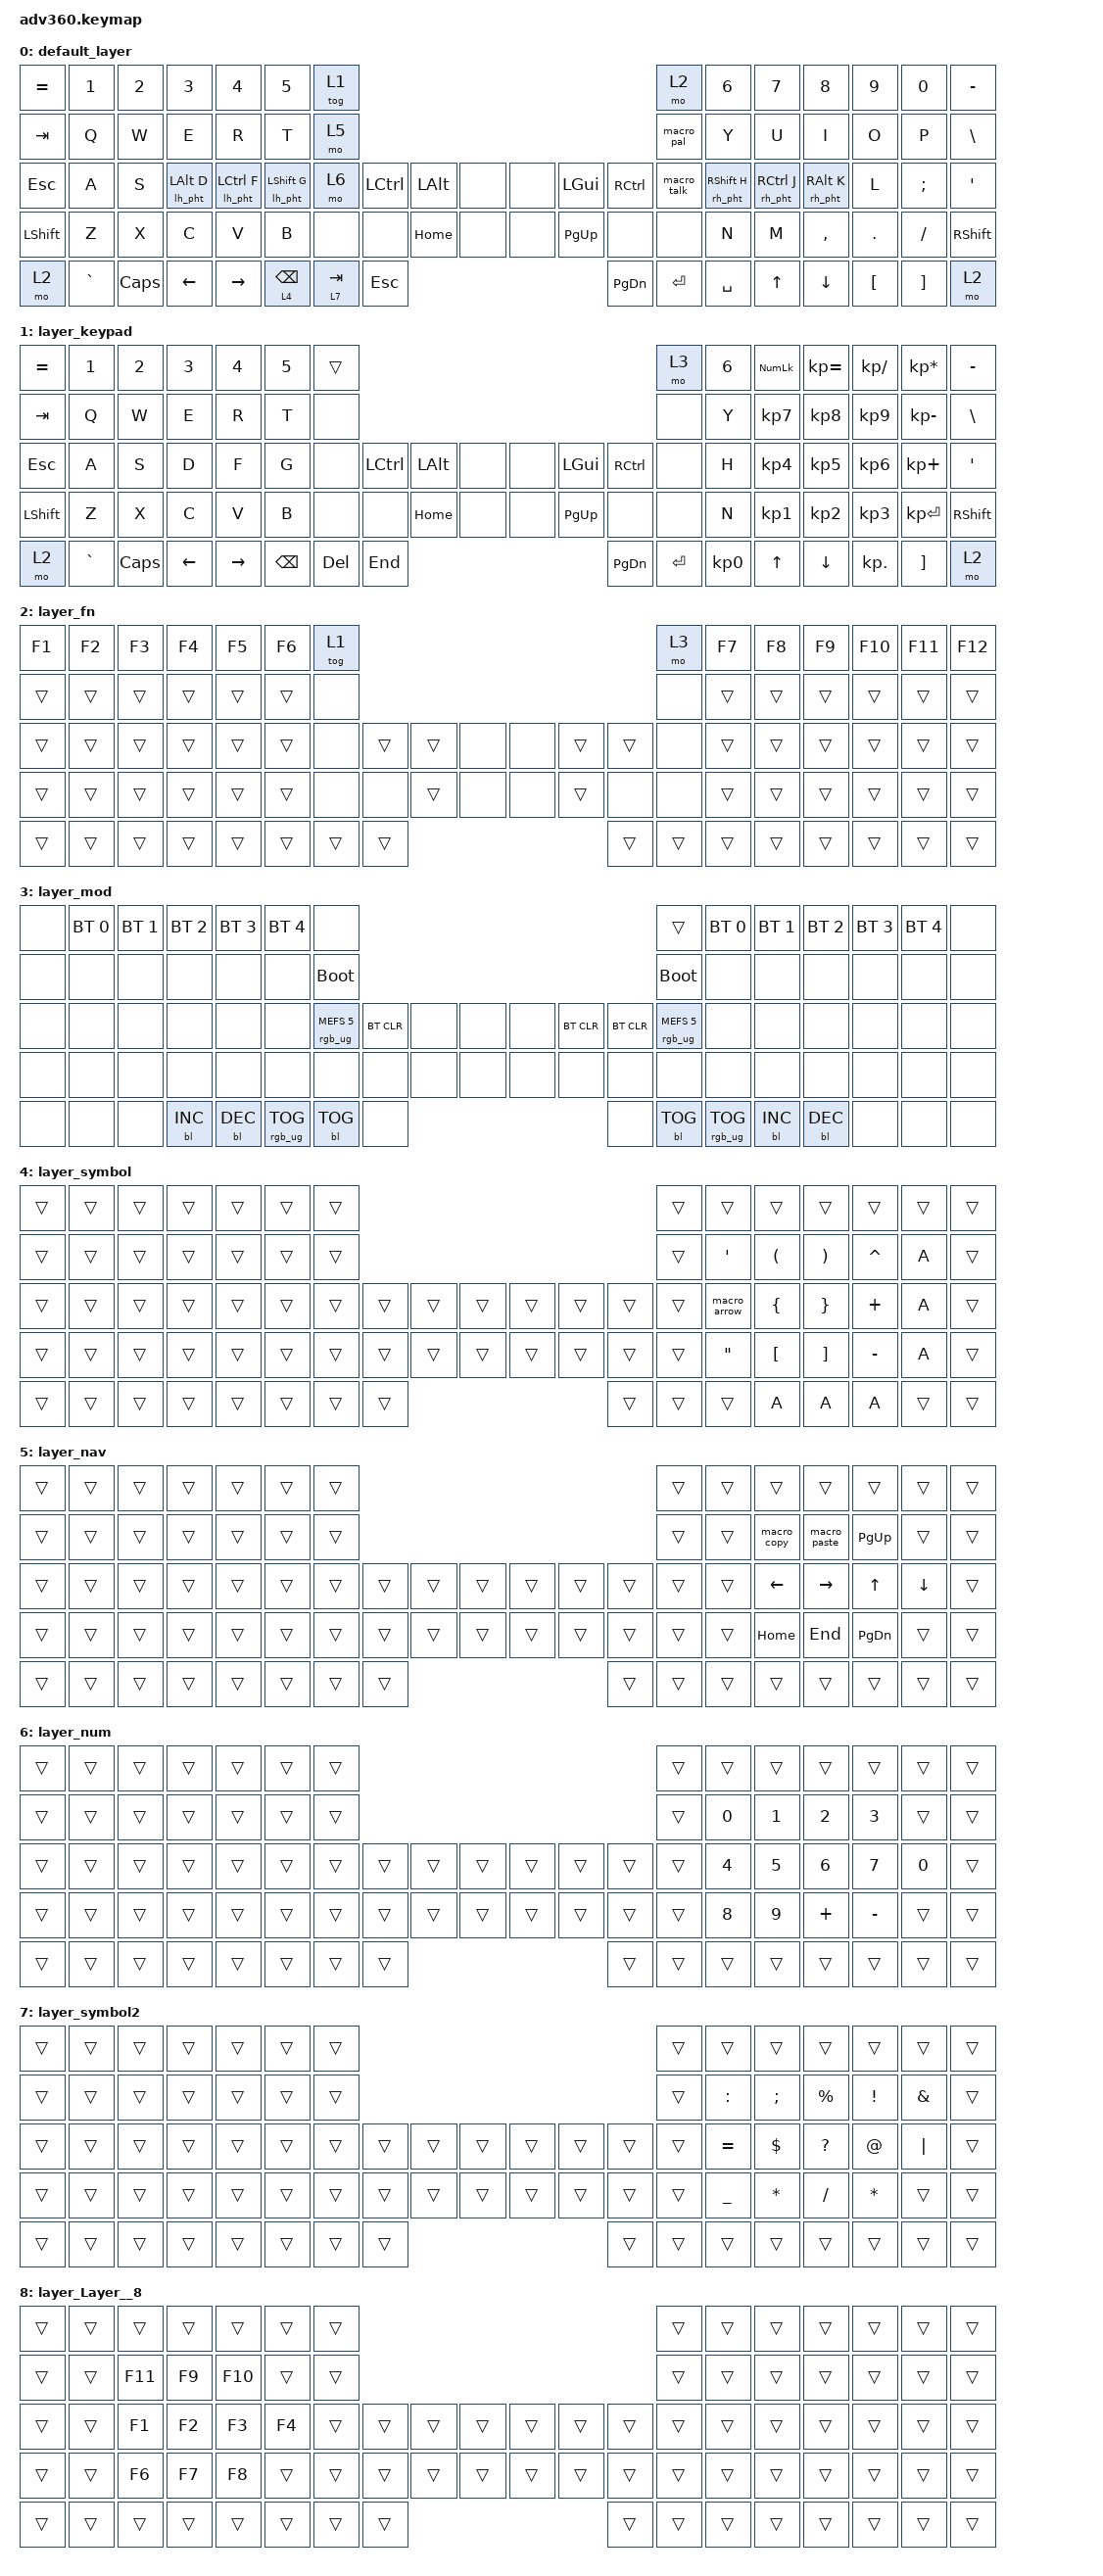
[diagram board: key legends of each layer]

/*
 * Copyright (c) 2020 The ZMK Contributors
 *
 * SPDX-License-Identifier: MIT
 */


/* THIS FILE WAS GENERATED!
 *
 * This file was generated automatically. You may or may not want to
 * edit it directly.
 */

#include <behaviors.dtsi>
#include <dt-bindings/zmk/keys.h>
#include <dt-bindings/zmk/bt.h>
#include <dt-bindings/zmk/rgb.h>
#include <dt-bindings/zmk/backlight.h>

/ {
  behaviors {
    #include "macros.dtsi"
    #include "version.dtsi"

    hm: homerow_mods {
        compatible = "zmk,behavior-hold-tap";
        label = "HOMEROW_MODS";
        #binding-cells = <2>;
        tapping-term-ms = <200>;
        quick_tap_ms = <175>;
        flavor = "tap-preferred";
        bindings = <&kp>, <&kp>;
    };
  };

    keymap {
        compatible = "zmk,keymap";


        default_layer {
            bindings = <
 &kp EQUAL     &kp N1    &kp N2              &kp N3           &kp N4                &kp N5                     &tog 1                                                                     &mo 2                 &kp N6           &kp N7               &kp N8    &kp N9    &kp N0  &kp MINUS
   &kp TAB      &kp Q     &kp W               &kp E            &kp R                 &kp T                      &mo 5                                                                &macro_pal                  &kp Y            &kp U                &kp I     &kp O     &kp P   &kp BSLH
   &kp ESC      &kp A     &kp S  &lh_pht LEFT_ALT D  &lh_pht LCTRL F  &lh_pht LEFT_SHIFT G                      &mo 6  &kp LCTRL    &kp LALT   &none   &none   &kp LGUI  &kp RCTRL  &macro_talk  &rh_pht RIGHT_SHIFT H  &rh_pht RCTRL J  &rh_pht RIGHT_ALT K     &kp L  &kp SEMI    &kp SQT
 &kp LSHFT      &kp Z     &kp X               &kp C            &kp V                 &kp B                      &none      &none    &kp HOME   &none   &none  &kp PG_UP      &none        &none                  &kp N            &kp M            &kp COMMA   &kp DOT  &kp FSLH  &kp RSHFT
     &mo 2  &kp GRAVE  &kp CAPS            &kp LEFT        &kp RIGHT                                  &lt 4 BACKSPACE  &lt 7 TAB  &kp ESCAPE                  &kp PG_DN  &kp ENTER    &kp SPACE                                  &kp UP             &kp DOWN  &kp LBKT  &kp RBKT      &mo 2
            >;
        };

        layer_keypad {
            bindings = <
 &kp EQUAL     &kp N1    &kp N2    &kp N3     &kp N4  &kp N5              &trans                                                                 &mo 3  &kp N6  &kp KP_NUM  &kp KP_EQUAL  &kp KP_DIVIDE  &kp KP_MULTIPLY  &kp MINUS
   &kp TAB      &kp Q     &kp W     &kp E      &kp R   &kp T               &none                                                                 &none   &kp Y   &kp KP_N7     &kp KP_N8      &kp KP_N9     &kp KP_MINUS   &kp BSLH
   &kp ESC      &kp A     &kp S     &kp D      &kp F   &kp G               &none  &kp LCTRL  &kp LALT   &none   &none   &kp LGUI  &kp RCTRL      &none   &kp H   &kp KP_N4     &kp KP_N5      &kp KP_N6      &kp KP_PLUS    &kp SQT
 &kp LSHFT      &kp Z     &kp X     &kp C      &kp V   &kp B               &none      &none  &kp HOME   &none   &none  &kp PG_UP      &none      &none   &kp N   &kp KP_N1     &kp KP_N2      &kp KP_N3     &kp KP_ENTER  &kp RSHFT
     &mo 2  &kp GRAVE  &kp CAPS  &kp LEFT  &kp RIGHT                    &kp BSPC    &kp DEL   &kp END                  &kp PG_DN  &kp ENTER  &kp KP_N0              &kp UP      &kp DOWN     &kp KP_DOT         &kp RBKT      &mo 2
            >;
        };

        layer_fn {
            bindings = <
 &kp F1  &kp F2  &kp F3  &kp F4  &kp F5  &kp F6            &tog 1                                                   &mo 3  &kp F7  &kp F8  &kp F9  &kp F10  &kp F11  &kp F12
 &trans  &trans  &trans  &trans  &trans  &trans             &none                                                   &none  &trans  &trans  &trans   &trans   &trans   &trans
 &trans  &trans  &trans  &trans  &trans  &trans             &none  &trans  &trans   &none   &none  &trans  &trans   &none  &trans  &trans  &trans   &trans   &trans   &trans
 &trans  &trans  &trans  &trans  &trans  &trans             &none   &none  &trans   &none   &none  &trans   &none   &none  &trans  &trans  &trans   &trans   &trans   &trans
 &trans  &trans  &trans  &trans  &trans                    &trans  &trans  &trans                  &trans  &trans  &trans          &trans  &trans   &trans   &trans   &trans
            >;
        };

        layer_mod {
            bindings = <
  &none  &bt BT_SEL 0  &bt BT_SEL 1  &bt BT_SEL 2  &bt BT_SEL 3  &bt BT_SEL 4                             &none                                                                              &trans  &bt BT_SEL 0  &bt BT_SEL 1  &bt BT_SEL 2  &bt BT_SEL 3  &bt BT_SEL 4   &none
  &none         &none         &none         &none         &none         &none                       &bootloader                                                                         &bootloader         &none         &none         &none         &none         &none   &none
  &none         &none         &none         &none         &none         &none            &rgb_ug RGB_MEFS_CMD 5  &bt BT_CLR   &none   &none   &none  &bt BT_CLR  &bt BT_CLR  &rgb_ug RGB_MEFS_CMD 5         &none         &none         &none         &none         &none   &none
  &none         &none         &none         &none         &none         &none                             &none       &none   &none   &none   &none       &none       &none                   &none         &none         &none         &none         &none         &none   &none
  &none         &none         &none    &bl BL_INC    &bl BL_DEC                                 &rgb_ug RGB_TOG  &bl BL_TOG   &none                       &none  &bl BL_TOG         &rgb_ug RGB_TOG                  &bl BL_INC    &bl BL_DEC         &none         &none   &none
            >;
        };

        layer_symbol {
            bindings = <
 &trans  &trans  &trans  &trans  &trans  &trans            &trans                                                  &trans             &trans                &trans                 &trans     &trans  &trans  &trans
 &trans  &trans  &trans  &trans  &trans  &trans            &trans                                                  &trans   &kp SINGLE_QUOTE  &kp LEFT_PARENTHESIS  &kp RIGHT_PARENTHESIS  &kp CARET   &kp A  &trans
 &trans  &trans  &trans  &trans  &trans  &trans            &trans  &trans  &trans  &trans  &trans  &trans  &trans  &trans       &macro_arrow        &kp LEFT_BRACE        &kp RIGHT_BRACE   &kp PLUS   &kp A  &trans
 &trans  &trans  &trans  &trans  &trans  &trans            &trans  &trans  &trans  &trans  &trans  &trans  &trans  &trans  &kp DOUBLE_QUOTES      &kp LEFT_BRACKET      &kp RIGHT_BRACKET  &kp MINUS   &kp A  &trans
 &trans  &trans  &trans  &trans  &trans                    &trans  &trans  &trans                  &trans  &trans  &trans                                    &kp A                  &kp A      &kp A  &trans  &trans
            >;
        };

        layer_nav {
            bindings = <
 &trans  &trans  &trans  &trans  &trans  &trans            &trans                                                  &trans  &trans          &trans           &trans         &trans          &trans  &trans
 &trans  &trans  &trans  &trans  &trans  &trans            &trans                                                  &trans  &trans     &macro_copy     &macro_paste    &kp PAGE_UP          &trans  &trans
 &trans  &trans  &trans  &trans  &trans  &trans            &trans  &trans  &trans  &trans  &trans  &trans  &trans  &trans  &trans  &kp LEFT_ARROW  &kp RIGHT_ARROW   &kp UP_ARROW  &kp DOWN_ARROW  &trans
 &trans  &trans  &trans  &trans  &trans  &trans            &trans  &trans  &trans  &trans  &trans  &trans  &trans  &trans  &trans        &kp HOME          &kp END  &kp PAGE_DOWN          &trans  &trans
 &trans  &trans  &trans  &trans  &trans                    &trans  &trans  &trans                  &trans  &trans  &trans                  &trans           &trans         &trans          &trans  &trans
            >;
        };

        layer_num {
            bindings = <
 &trans  &trans  &trans  &trans  &trans  &trans            &trans                                                  &trans        &trans        &trans        &trans        &trans        &trans  &trans
 &trans  &trans  &trans  &trans  &trans  &trans            &trans                                                  &trans  &kp NUMBER_0  &kp NUMBER_1  &kp NUMBER_2  &kp NUMBER_3        &trans  &trans
 &trans  &trans  &trans  &trans  &trans  &trans            &trans  &trans  &trans  &trans  &trans  &trans  &trans  &trans  &kp NUMBER_4  &kp NUMBER_5  &kp NUMBER_6  &kp NUMBER_7  &kp NUMBER_0  &trans
 &trans  &trans  &trans  &trans  &trans  &trans            &trans  &trans  &trans  &trans  &trans  &trans  &trans  &trans  &kp NUMBER_8  &kp NUMBER_9      &kp PLUS     &kp MINUS        &trans  &trans
 &trans  &trans  &trans  &trans  &trans                    &trans  &trans  &trans                  &trans  &trans  &trans                      &trans        &trans        &trans        &trans  &trans
            >;
        };

        layer_symbol2 {
            bindings = <
 &trans  &trans  &trans  &trans  &trans  &trans            &trans                                                  &trans          &trans         &trans        &trans        &trans         &trans  &trans
 &trans  &trans  &trans  &trans  &trans  &trans            &trans                                                  &trans       &kp COLON  &kp SEMICOLON   &kp PERCENT      &kp EXCL  &kp AMPERSAND  &trans
 &trans  &trans  &trans  &trans  &trans  &trans            &trans  &trans  &trans  &trans  &trans  &trans  &trans  &trans       &kp EQUAL     &kp DOLLAR  &kp QUESTION   &kp AT_SIGN       &kp PIPE  &trans
 &trans  &trans  &trans  &trans  &trans  &trans            &trans  &trans  &trans  &trans  &trans  &trans  &trans  &trans  &kp UNDERSCORE   &kp ASTERISK     &kp SLASH  &kp ASTERISK         &trans  &trans
 &trans  &trans  &trans  &trans  &trans                    &trans  &trans  &trans                  &trans  &trans  &trans                         &trans        &trans        &trans         &trans  &trans
            >;
        };

        layer_Layer__8 {
            bindings = <
 &trans  &trans   &trans  &trans   &trans  &trans            &trans                                                  &trans  &trans  &trans  &trans  &trans  &trans  &trans
 &trans  &trans  &kp F11  &kp F9  &kp F10  &trans            &trans                                                  &trans  &trans  &trans  &trans  &trans  &trans  &trans
 &trans  &trans   &kp F1  &kp F2   &kp F3  &kp F4            &trans  &trans  &trans  &trans  &trans  &trans  &trans  &trans  &trans  &trans  &trans  &trans  &trans  &trans
 &trans  &trans   &kp F6  &kp F7   &kp F8  &trans            &trans  &trans  &trans  &trans  &trans  &trans  &trans  &trans  &trans  &trans  &trans  &trans  &trans  &trans
 &trans  &trans   &trans  &trans   &trans                    &trans  &trans  &trans                  &trans  &trans  &trans          &trans  &trans  &trans  &trans  &trans
            >;
        };

    };
};
